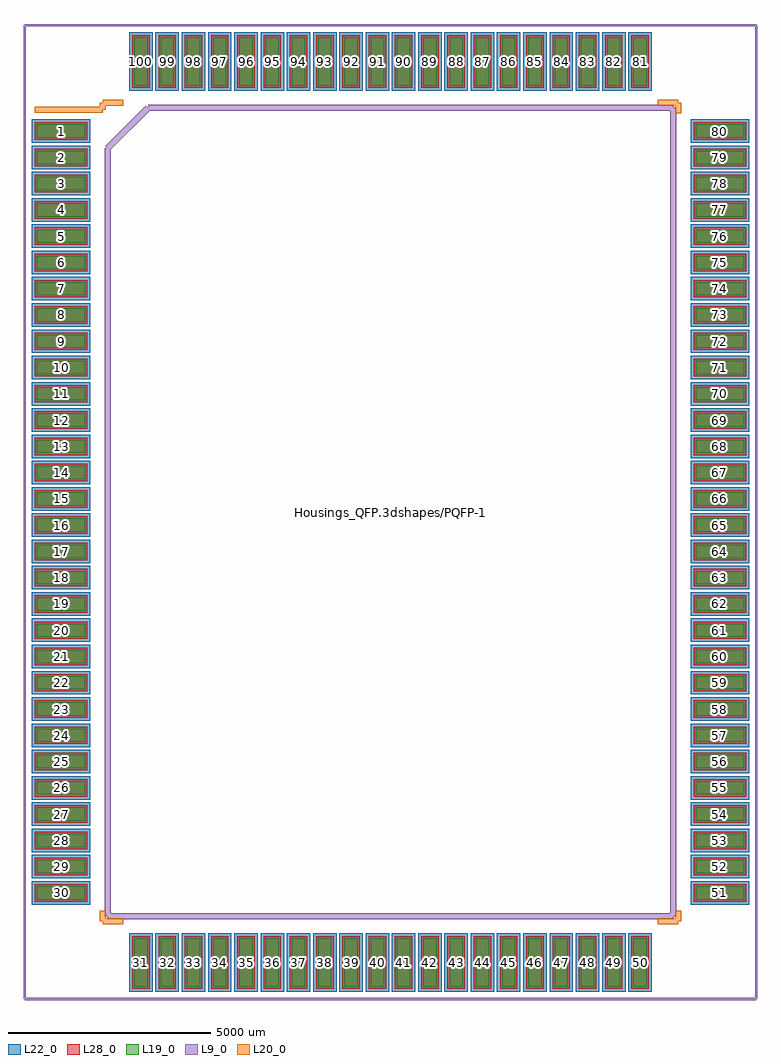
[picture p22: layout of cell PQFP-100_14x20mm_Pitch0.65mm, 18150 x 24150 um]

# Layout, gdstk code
import gdstk
lib = gdstk.Library(unit=1e-6, precision=1e-09)
def R(c, l, rs):  # rectangles x0, y0, x1, y1
    for r in rs: c.add(gdstk.rectangle(r[:2], r[2:], *l))
def A(c, l, x, y, w, h, nx, ny, dx, dy):  # array of equal rectangles
    R(c, l, [(x+i*dx, y+j*dy, x+i*dx+w, y+j*dy+h) for i in range(nx) for j in range(ny)])
L9_0 = (9, 0)
L19_0 = (19, 0)
L20_0 = (20, 0)
L22_0 = (22, 0)
L28_0 = (28, 0)

pqfp_100_14x20mm_pitch0_ = lib.new_cell('PQFP-100_14x20mm_Pitch0.65mm')
A(pqfp_100_14x20mm_pitch0_, L19_0, -6340, -11750, 330, 1200, 20, 2, 650, 22300)
A(pqfp_100_14x20mm_pitch0_, L19_0, -8750, -9590, 1200, 330, 1, 30, 0, 650)
A(pqfp_100_14x20mm_pitch0_, L19_0, 7550, -9590, 1200, 330, 1, 30, 0, 650)
A(pqfp_100_14x20mm_pitch0_, L22_0, -6465, -11875, 580, 1450, 20, 2, 650, 22300)
A(pqfp_100_14x20mm_pitch0_, L22_0, -8875, -9715, 1450, 580, 1, 30, 0, 650)
A(pqfp_100_14x20mm_pitch0_, L22_0, 7425, -9715, 1450, 580, 1, 30, 0, 650)
A(pqfp_100_14x20mm_pitch0_, L28_0, -6390, -11800, 430, 1300, 20, 2, 650, 22300)
A(pqfp_100_14x20mm_pitch0_, L28_0, -8800, -9640, 1300, 430, 1, 30, 0, 650)
A(pqfp_100_14x20mm_pitch0_, L28_0, 7500, -9640, 1300, 430, 1, 30, 0, 650)
pqfp_100_14x20mm_pitch0_.add(gdstk.FlexPath([(-7125,9950),(-8800,9950)], 149.998, ends="flush", simple_path=True, layer=20, datatype=0))  # L20_0
pqfp_100_14x20mm_pitch0_.add(gdstk.FlexPath([(7125,10125),(6615,10125)], 149.998, ends="flush", simple_path=True, layer=20, datatype=0))  # L20_0
pqfp_100_14x20mm_pitch0_.add(gdstk.FlexPath([(7125,-10125),(6615,-10125)], 149.998, ends="flush", simple_path=True, layer=20, datatype=0))  # L20_0
pqfp_100_14x20mm_pitch0_.add(gdstk.FlexPath([(-7125,-10125),(-6615,-10125)], 149.998, ends="flush", simple_path=True, layer=20, datatype=0))  # L20_0
pqfp_100_14x20mm_pitch0_.add(gdstk.FlexPath([(-7125,10125),(-6615,10125)], 149.998, ends="flush", simple_path=True, layer=20, datatype=0))  # L20_0
pqfp_100_14x20mm_pitch0_.add(gdstk.FlexPath([(-7125,-10125),(-7125,-9865)], 149.998, ends="flush", simple_path=True, layer=20, datatype=0))  # L20_0
pqfp_100_14x20mm_pitch0_.add(gdstk.FlexPath([(7125,-10125),(7125,-9865)], 149.998, ends="flush", simple_path=True, layer=20, datatype=0))  # L20_0
pqfp_100_14x20mm_pitch0_.add(gdstk.FlexPath([(7125,10125),(7125,9865)], 149.998, ends="flush", simple_path=True, layer=20, datatype=0))  # L20_0
pqfp_100_14x20mm_pitch0_.add(gdstk.FlexPath([(-7125,10125),(-7125,9950)], 149.998, ends="flush", simple_path=True, layer=20, datatype=0))  # L20_0
pqfp_100_14x20mm_pitch0_.add(gdstk.FlexPath([(-9050,-12050),(9050,-12050)], 50, ends="flush", simple_path=True, layer=9, datatype=0))  # L9_0
pqfp_100_14x20mm_pitch0_.add(gdstk.FlexPath([(-9050,12050),(9050,12050)], 50, ends="flush", simple_path=True, layer=9, datatype=0))  # L9_0
pqfp_100_14x20mm_pitch0_.add(gdstk.FlexPath([(9050,12050),(9050,-12050)], 50, ends="flush", simple_path=True, layer=9, datatype=0))  # L9_0
pqfp_100_14x20mm_pitch0_.add(gdstk.FlexPath([(-9050,12050),(-9050,-12050)], 50, ends="flush", simple_path=True, layer=9, datatype=0))  # L9_0
pqfp_100_14x20mm_pitch0_.add(gdstk.FlexPath([(-7000,9000),(-6000,10000)], 149.998, ends="flush", simple_path=True, layer=9, datatype=0))  # L9_0
pqfp_100_14x20mm_pitch0_.add(gdstk.FlexPath([(-7000,-10000),(-7000,9000)], 149.998, ends="flush", simple_path=True, layer=9, datatype=0))  # L9_0
pqfp_100_14x20mm_pitch0_.add(gdstk.FlexPath([(7000,-10000),(-7000,-10000)], 149.998, ends="flush", simple_path=True, layer=9, datatype=0))  # L9_0
pqfp_100_14x20mm_pitch0_.add(gdstk.FlexPath([(7000,10000),(7000,-10000)], 149.998, ends="flush", simple_path=True, layer=9, datatype=0))  # L9_0
pqfp_100_14x20mm_pitch0_.add(gdstk.FlexPath([(-6000,10000),(7000,10000)], 149.998, ends="flush", simple_path=True, layer=9, datatype=0))  # L9_0
pqfp_100_14x20mm_pitch0_.add(gdstk.Label('Housings_QFP.3dshapes/PQFP-100_14x20mm_Pitch0.65mm.wrl', (0,0), layer=12, texttype=0))
pqfp_100_14x20mm_pitch0_.add(gdstk.Label('100', (-6175,11150), layer=28, texttype=0))
pqfp_100_14x20mm_pitch0_.add(gdstk.Label('99', (-5525,11150), layer=28, texttype=0))
pqfp_100_14x20mm_pitch0_.add(gdstk.Label('98', (-4875,11150), layer=28, texttype=0))
pqfp_100_14x20mm_pitch0_.add(gdstk.Label('97', (-4225,11150), layer=28, texttype=0))
pqfp_100_14x20mm_pitch0_.add(gdstk.Label('96', (-3575,11150), layer=28, texttype=0))
pqfp_100_14x20mm_pitch0_.add(gdstk.Label('95', (-2925,11150), layer=28, texttype=0))
pqfp_100_14x20mm_pitch0_.add(gdstk.Label('94', (-2275,11150), layer=28, texttype=0))
pqfp_100_14x20mm_pitch0_.add(gdstk.Label('93', (-1625,11150), layer=28, texttype=0))
pqfp_100_14x20mm_pitch0_.add(gdstk.Label('92', (-975,11150), layer=28, texttype=0))
pqfp_100_14x20mm_pitch0_.add(gdstk.Label('91', (-325,11150), layer=28, texttype=0))
pqfp_100_14x20mm_pitch0_.add(gdstk.Label('90', (325,11150), layer=28, texttype=0))
pqfp_100_14x20mm_pitch0_.add(gdstk.Label('89', (975,11150), layer=28, texttype=0))
pqfp_100_14x20mm_pitch0_.add(gdstk.Label('88', (1625,11150), layer=28, texttype=0))
pqfp_100_14x20mm_pitch0_.add(gdstk.Label('87', (2275,11150), layer=28, texttype=0))
pqfp_100_14x20mm_pitch0_.add(gdstk.Label('86', (2925,11150), layer=28, texttype=0))
pqfp_100_14x20mm_pitch0_.add(gdstk.Label('85', (3575,11150), layer=28, texttype=0))
pqfp_100_14x20mm_pitch0_.add(gdstk.Label('84', (4225,11150), layer=28, texttype=0))
pqfp_100_14x20mm_pitch0_.add(gdstk.Label('83', (4875,11150), layer=28, texttype=0))
pqfp_100_14x20mm_pitch0_.add(gdstk.Label('82', (5525,11150), layer=28, texttype=0))
pqfp_100_14x20mm_pitch0_.add(gdstk.Label('81', (6175,11150), layer=28, texttype=0))
pqfp_100_14x20mm_pitch0_.add(gdstk.Label('80', (8150,9425), layer=28, texttype=0))
pqfp_100_14x20mm_pitch0_.add(gdstk.Label('79', (8150,8775), layer=28, texttype=0))
pqfp_100_14x20mm_pitch0_.add(gdstk.Label('78', (8150,8125), layer=28, texttype=0))
pqfp_100_14x20mm_pitch0_.add(gdstk.Label('77', (8150,7475), layer=28, texttype=0))
pqfp_100_14x20mm_pitch0_.add(gdstk.Label('76', (8150,6825), layer=28, texttype=0))
pqfp_100_14x20mm_pitch0_.add(gdstk.Label('75', (8150,6175), layer=28, texttype=0))
pqfp_100_14x20mm_pitch0_.add(gdstk.Label('74', (8150,5525), layer=28, texttype=0))
pqfp_100_14x20mm_pitch0_.add(gdstk.Label('73', (8150,4875), layer=28, texttype=0))
pqfp_100_14x20mm_pitch0_.add(gdstk.Label('72', (8150,4225), layer=28, texttype=0))
pqfp_100_14x20mm_pitch0_.add(gdstk.Label('71', (8150,3575), layer=28, texttype=0))
pqfp_100_14x20mm_pitch0_.add(gdstk.Label('70', (8150,2925), layer=28, texttype=0))
pqfp_100_14x20mm_pitch0_.add(gdstk.Label('69', (8150,2275), layer=28, texttype=0))
pqfp_100_14x20mm_pitch0_.add(gdstk.Label('68', (8150,1625), layer=28, texttype=0))
pqfp_100_14x20mm_pitch0_.add(gdstk.Label('67', (8150,975), layer=28, texttype=0))
pqfp_100_14x20mm_pitch0_.add(gdstk.Label('66', (8150,325), layer=28, texttype=0))
pqfp_100_14x20mm_pitch0_.add(gdstk.Label('65', (8150,-325), layer=28, texttype=0))
pqfp_100_14x20mm_pitch0_.add(gdstk.Label('64', (8150,-975), layer=28, texttype=0))
pqfp_100_14x20mm_pitch0_.add(gdstk.Label('63', (8150,-1625), layer=28, texttype=0))
pqfp_100_14x20mm_pitch0_.add(gdstk.Label('62', (8150,-2275), layer=28, texttype=0))
pqfp_100_14x20mm_pitch0_.add(gdstk.Label('61', (8150,-2925), layer=28, texttype=0))
pqfp_100_14x20mm_pitch0_.add(gdstk.Label('60', (8150,-3575), layer=28, texttype=0))
pqfp_100_14x20mm_pitch0_.add(gdstk.Label('59', (8150,-4225), layer=28, texttype=0))
pqfp_100_14x20mm_pitch0_.add(gdstk.Label('58', (8150,-4875), layer=28, texttype=0))
pqfp_100_14x20mm_pitch0_.add(gdstk.Label('57', (8150,-5525), layer=28, texttype=0))
pqfp_100_14x20mm_pitch0_.add(gdstk.Label('56', (8150,-6175), layer=28, texttype=0))
pqfp_100_14x20mm_pitch0_.add(gdstk.Label('55', (8150,-6825), layer=28, texttype=0))
pqfp_100_14x20mm_pitch0_.add(gdstk.Label('54', (8150,-7475), layer=28, texttype=0))
pqfp_100_14x20mm_pitch0_.add(gdstk.Label('53', (8150,-8125), layer=28, texttype=0))
pqfp_100_14x20mm_pitch0_.add(gdstk.Label('52', (8150,-8775), layer=28, texttype=0))
pqfp_100_14x20mm_pitch0_.add(gdstk.Label('51', (8150,-9425), layer=28, texttype=0))
pqfp_100_14x20mm_pitch0_.add(gdstk.Label('50', (6175,-11150), layer=28, texttype=0))
pqfp_100_14x20mm_pitch0_.add(gdstk.Label('49', (5525,-11150), layer=28, texttype=0))
pqfp_100_14x20mm_pitch0_.add(gdstk.Label('48', (4875,-11150), layer=28, texttype=0))
pqfp_100_14x20mm_pitch0_.add(gdstk.Label('47', (4225,-11150), layer=28, texttype=0))
pqfp_100_14x20mm_pitch0_.add(gdstk.Label('46', (3575,-11150), layer=28, texttype=0))
pqfp_100_14x20mm_pitch0_.add(gdstk.Label('45', (2925,-11150), layer=28, texttype=0))
pqfp_100_14x20mm_pitch0_.add(gdstk.Label('44', (2275,-11150), layer=28, texttype=0))
pqfp_100_14x20mm_pitch0_.add(gdstk.Label('43', (1625,-11150), layer=28, texttype=0))
pqfp_100_14x20mm_pitch0_.add(gdstk.Label('42', (975,-11150), layer=28, texttype=0))
pqfp_100_14x20mm_pitch0_.add(gdstk.Label('41', (325,-11150), layer=28, texttype=0))
pqfp_100_14x20mm_pitch0_.add(gdstk.Label('40', (-325,-11150), layer=28, texttype=0))
pqfp_100_14x20mm_pitch0_.add(gdstk.Label('39', (-975,-11150), layer=28, texttype=0))
pqfp_100_14x20mm_pitch0_.add(gdstk.Label('38', (-1625,-11150), layer=28, texttype=0))
pqfp_100_14x20mm_pitch0_.add(gdstk.Label('37', (-2275,-11150), layer=28, texttype=0))
pqfp_100_14x20mm_pitch0_.add(gdstk.Label('36', (-2925,-11150), layer=28, texttype=0))
pqfp_100_14x20mm_pitch0_.add(gdstk.Label('35', (-3575,-11150), layer=28, texttype=0))
pqfp_100_14x20mm_pitch0_.add(gdstk.Label('34', (-4225,-11150), layer=28, texttype=0))
pqfp_100_14x20mm_pitch0_.add(gdstk.Label('33', (-4875,-11150), layer=28, texttype=0))
pqfp_100_14x20mm_pitch0_.add(gdstk.Label('32', (-5525,-11150), layer=28, texttype=0))
pqfp_100_14x20mm_pitch0_.add(gdstk.Label('31', (-6175,-11150), layer=28, texttype=0))
pqfp_100_14x20mm_pitch0_.add(gdstk.Label('30', (-8150,-9425), layer=28, texttype=0))
pqfp_100_14x20mm_pitch0_.add(gdstk.Label('29', (-8150,-8775), layer=28, texttype=0))
pqfp_100_14x20mm_pitch0_.add(gdstk.Label('28', (-8150,-8125), layer=28, texttype=0))
pqfp_100_14x20mm_pitch0_.add(gdstk.Label('27', (-8150,-7475), layer=28, texttype=0))
pqfp_100_14x20mm_pitch0_.add(gdstk.Label('26', (-8150,-6825), layer=28, texttype=0))
pqfp_100_14x20mm_pitch0_.add(gdstk.Label('25', (-8150,-6175), layer=28, texttype=0))
pqfp_100_14x20mm_pitch0_.add(gdstk.Label('24', (-8150,-5525), layer=28, texttype=0))
pqfp_100_14x20mm_pitch0_.add(gdstk.Label('23', (-8150,-4875), layer=28, texttype=0))
pqfp_100_14x20mm_pitch0_.add(gdstk.Label('22', (-8150,-4225), layer=28, texttype=0))
pqfp_100_14x20mm_pitch0_.add(gdstk.Label('21', (-8150,-3575), layer=28, texttype=0))
pqfp_100_14x20mm_pitch0_.add(gdstk.Label('20', (-8150,-2925), layer=28, texttype=0))
pqfp_100_14x20mm_pitch0_.add(gdstk.Label('19', (-8150,-2275), layer=28, texttype=0))
pqfp_100_14x20mm_pitch0_.add(gdstk.Label('18', (-8150,-1625), layer=28, texttype=0))
pqfp_100_14x20mm_pitch0_.add(gdstk.Label('17', (-8150,-975), layer=28, texttype=0))
pqfp_100_14x20mm_pitch0_.add(gdstk.Label('16', (-8150,-325), layer=28, texttype=0))
pqfp_100_14x20mm_pitch0_.add(gdstk.Label('15', (-8150,325), layer=28, texttype=0))
pqfp_100_14x20mm_pitch0_.add(gdstk.Label('14', (-8150,975), layer=28, texttype=0))
pqfp_100_14x20mm_pitch0_.add(gdstk.Label('13', (-8150,1625), layer=28, texttype=0))
pqfp_100_14x20mm_pitch0_.add(gdstk.Label('12', (-8150,2275), layer=28, texttype=0))
pqfp_100_14x20mm_pitch0_.add(gdstk.Label('11', (-8150,2925), layer=28, texttype=0))
pqfp_100_14x20mm_pitch0_.add(gdstk.Label('10', (-8150,3575), layer=28, texttype=0))
pqfp_100_14x20mm_pitch0_.add(gdstk.Label('9', (-8150,4225), layer=28, texttype=0))
pqfp_100_14x20mm_pitch0_.add(gdstk.Label('8', (-8150,4875), layer=28, texttype=0))
pqfp_100_14x20mm_pitch0_.add(gdstk.Label('7', (-8150,5525), layer=28, texttype=0))
pqfp_100_14x20mm_pitch0_.add(gdstk.Label('6', (-8150,6175), layer=28, texttype=0))
pqfp_100_14x20mm_pitch0_.add(gdstk.Label('5', (-8150,6825), layer=28, texttype=0))
pqfp_100_14x20mm_pitch0_.add(gdstk.Label('4', (-8150,7475), layer=28, texttype=0))
pqfp_100_14x20mm_pitch0_.add(gdstk.Label('3', (-8150,8125), layer=28, texttype=0))
pqfp_100_14x20mm_pitch0_.add(gdstk.Label('2', (-8150,8775), layer=28, texttype=0))
pqfp_100_14x20mm_pitch0_.add(gdstk.Label('1', (-8150,9425), layer=28, texttype=0))
pqfp_100_14x20mm_pitch0_.add(gdstk.Label('%R', (0,0), layer=9, texttype=0))
pqfp_100_14x20mm_pitch0_.add(gdstk.Label('type', (0,-12800), layer=9, texttype=0))
pqfp_100_14x20mm_pitch0_.add(gdstk.Label('devicename', (0,12800), layer=9, texttype=0))

lib.write_gds('PQFP-100_14x20mm_Pitch0.65mm.gds')
